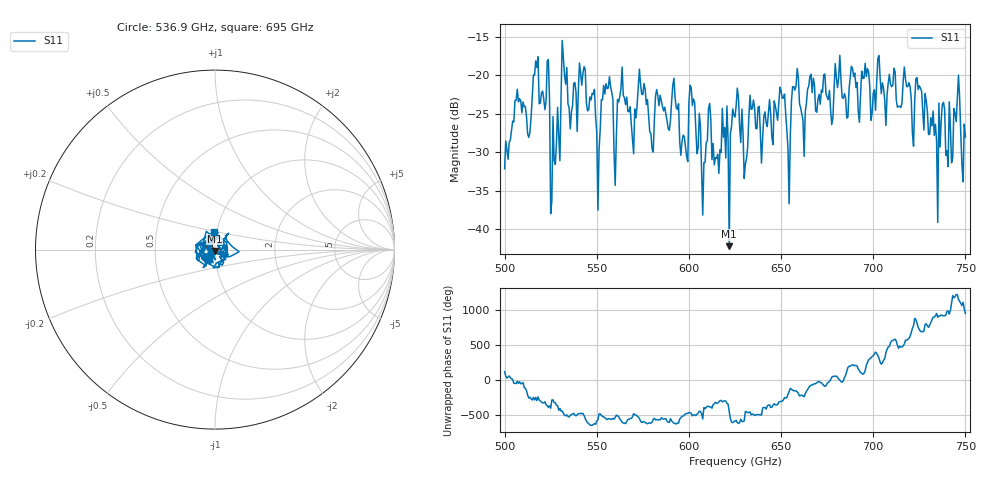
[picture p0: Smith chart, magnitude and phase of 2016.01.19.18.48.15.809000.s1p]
!Created with skrf (http://scikit-rf.org).
# GHz S RI R 50.0
!freq ReS11 ImS11
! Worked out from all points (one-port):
!   401 points, 500 GHz to 750 GHz, reference 50 ohm
!   lowest |S11| = -42.2 dB at 621.9 GHz (marker M1), VSWR 1.02, Z = 49.9 - j0.771 ohm
!   |S11| at or under -10 dB: start of sweep to end of sweep
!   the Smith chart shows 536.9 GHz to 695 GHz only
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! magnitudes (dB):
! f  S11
! 500 GHz  -32.1
! 506.9 GHz  -21.8
! 513.1 GHz  -28.1
! 516.9 GHz  -18.1
! 523.1 GHz  -18.1
! 526.2 GHz  -25.4
! 531.2 GHz  -15.5
! 542.5 GHz  -19.7
! 550.6 GHz  -37.5
! 553.8 GHz  -21.3
! 560.6 GHz  -28.1
! 562.5 GHz  -22.7
! 580 GHz  -29.6
! 593.8 GHz  -24.4
! 598.1 GHz  -29.3
! 601.9 GHz  -23.9
! 608.1 GHz  -31.3
! 610.6 GHz  -24.3
! 621.9 GHz  -42.2
! 625 GHz  -25.4
! 630.6 GHz  -31.6
! 634.4 GHz  -24.4
! 650.6 GHz  -23.0
! 653.8 GHz  -29.6
! 656.2 GHz  -21.5
! 687.5 GHz  -20.3
! 718.8 GHz  -21.5
! 750 GHz  -28.0
